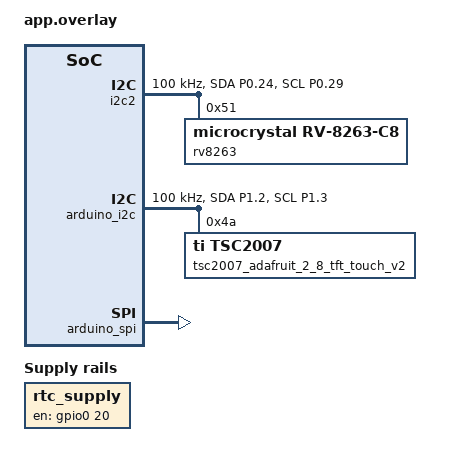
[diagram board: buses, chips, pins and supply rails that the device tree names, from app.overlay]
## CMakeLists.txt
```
# Copyright (c) 2019 STMicroelectronics
# SPDX-License-Identifier: Apache-2.0

cmake_minimum_required(VERSION 3.20.0)

# Default shields configuration if not provided by build system
if(NOT DEFINED SHIELD)
    set(SHIELD adafruit_2_8_tft_touch_v2 x_nucleo_iks01a3)
endif()

find_package(Zephyr REQUIRED HINTS $ENV{ZEPHYR_BASE})
project(connected_watch)

target_sources(app PRIVATE
    src/main.c
    src/input_tsc2007.c
    src/buttons.c
    src/rtc_time.c
    src/sensors.c
    src/controller.c
    src/display_thread.c
    src/ble_service.c
    src/storage.c
    src/ui/ui.c
)
```

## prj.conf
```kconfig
# --- Logging & Console ---
CONFIG_LOG=y
CONFIG_LOG_MODE_DEFERRED=y
CONFIG_CONSOLE=y
CONFIG_UART_CONSOLE=y
CONFIG_LOG_BACKEND_UART=y
CONFIG_CBPRINTF_FP_SUPPORT=y

# --- System & Stack ---
# Main thread only does init then sleeps — real work in dedicated threads.
CONFIG_MAIN_STACK_SIZE=4096
CONFIG_SYSTEM_WORKQUEUE_STACK_SIZE=2048
CONFIG_SHELL=y

# --- Multitasking (Event-Driven Architecture) ---
CONFIG_THREAD_NAME=y

# --- FPU (Cortex-M33 single-precision, disabled to avoid TF-M CP10/CP11 config issue) ---
# CONFIG_FPU=y
# CONFIG_FPU_SHARING=y

# --- Peripherals ---
CONFIG_GPIO=y
CONFIG_SPI=y
CONFIG_I2C=y
CONFIG_PINCTRL=y
CONFIG_REGULATOR=y
CONFIG_REGULATOR_FIXED=y

# --- nRF5340 Specific Fixes ---
# Disable TFM Secure UART to prevent conflict with I2C1 (both share ID 9)
CONFIG_TFM_SECURE_UART=n
CONFIG_TFM_LOG_LEVEL_SILENCE=y

# --- Bluetooth Low Energy ---
CONFIG_BT=y
CONFIG_BT_PERIPHERAL=y
CONFIG_BT_DEVICE_NAME="Connected Watch"
CONFIG_BT_DEVICE_APPEARANCE=833

# BLE Stack Configuration
CONFIG_BT_ATT_PREPARE_COUNT=5
CONFIG_BT_BUF_ACL_RX_SIZE=251
CONFIG_BT_BUF_ACL_TX_SIZE=251
CONFIG_BT_L2CAP_TX_MTU=247
CONFIG_BT_GATT_CLIENT=n

# Disable GATT Caching (requires AES-CMAC not enabled in TFM/PSA by default)
CONFIG_BT_GATT_CACHING=n

# --- RTC (Real Time Clock - RV-8263-C8) ---
CONFIG_RTC=y

# --- Sensors (X-NUCLEO-IKS01A3) ---
CONFIG_SENSOR=y
# Disable triggers to use polling mode
CONFIG_LIS2MDL_TRIGGER_NONE=y
CONFIG_LPS22HH_TRIGGER_NONE=y
CONFIG_LSM6DSO_TRIGGER_NONE=y

# --- Display & UI (LVGL) ---
CONFIG_DISPLAY=y
CONFIG_LVGL=y
CONFIG_LV_Z_AUTO_INIT=y
CONFIG_LV_Z_MEM_POOL_SIZE=32768
CONFIG_LV_Z_SHELL=y

# Display Driver Settings
# Use Zephyr INPUT with the local TSC2007 driver for the resistive shield.
CONFIG_INPUT=y
# Match ILI9341 hardware color depth (16-bit RGB565)
CONFIG_LV_COLOR_DEPTH_16=y
CONFIG_LV_Z_BITS_PER_PIXEL=16
CONFIG_LV_Z_VDB_SIZE=20

# LVGL Widgets & Fonts
CONFIG_LV_USE_LABEL=y
CONFIG_LV_USE_LINE=y
CONFIG_LV_USE_ARC=y
CONFIG_LV_USE_BAR=y
CONFIG_LV_USE_CALENDAR=y
CONFIG_LV_USE_CALENDAR_HEADER_ARROW=y
CONFIG_LV_FONT_MONTSERRAT_14=y
CONFIG_LV_FONT_MONTSERRAT_16=y
CONFIG_LV_FONT_MONTSERRAT_28=y
CONFIG_LV_USE_FONT_COMPRESSED=y

# --- Non-Volatile Storage (Settings Persistence) ---
CONFIG_NVS=y
CONFIG_FLASH=y
CONFIG_FLASH_MAP=y
CONFIG_FLASH_PAGE_LAYOUT=y
CONFIG_SETTINGS=y
CONFIG_SETTINGS_NVS=y

# --- Watchdog (disabled until feed logic is implemented in controller) ---
# CONFIG_WATCHDOG=y
# CONFIG_WDT_DISABLE_AT_BOOT=n
```

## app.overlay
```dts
/*
 * Copyright (c) 2024 STMicroelectronics
 * SPDX-License-Identifier: Apache-2.0
 */

/ {
    chosen {
        zephyr,display = &adafruit_2_8_tft_touch_v2_ili9340;
        zephyr,touch = &tsc2007_adafruit_2_8_tft_touch_v2;
    };

    /* Alimentation virtuelle pour la RTC (P0.20 - Colonne de Droite) */
    rtc_supply: rtc-power {
        compatible = "regulator-fixed";
        regulator-name = "rtc_vdd_gpio";
        enable-gpios = <&gpio0 20 GPIO_ACTIVE_HIGH>;
        regulator-boot-on;
        startup-delay-us = <1000>;
    };
};

&{/lvgl_pointer} {
    input = <&tsc2007_adafruit_2_8_tft_touch_v2>;
};

/* I2C Pin Configuration for nRF5340DK */
&pinctrl {
    /* Configuration Shield Nucleo (i2c1) - Inchangée */
    i2c1_default: i2c1_default {
        group1 {
            /* SDA=P1.02, SCL=P1.03 */
            psels = <NRF_PSEL(TWIM_SDA, 1, 2)>,
                    <NRF_PSEL(TWIM_SCL, 1, 3)>;
            bias-pull-up;
        };
    };

    i2c1_sleep: i2c1_sleep {
        group1 {
            psels = <NRF_PSEL(TWIM_SDA, 1, 2)>,
                    <NRF_PSEL(TWIM_SCL, 1, 3)>;
            low-power-enable;
        };
    };

    /* Nouveau bus I2C2 pour la RTC (SDA=P0.24, SCL=P0.29 - Colonne de Droite) */
    i2c2_default: i2c2_default {
        group1 {
            psels = <NRF_PSEL(TWIM_SDA, 0, 24)>,
                    <NRF_PSEL(TWIM_SCL, 0, 29)>;
            bias-pull-up;
        };
    };

    i2c2_sleep: i2c2_sleep {
        group1 {
            psels = <NRF_PSEL(TWIM_SDA, 0, 24)>,
                    <NRF_PSEL(TWIM_SCL, 0, 29)>;
            low-power-enable;
        };
    };
};

/* Bus I2C2 dédié pour la RTC */
&i2c2 {
    compatible = "nordic,nrf-twim";
    status = "okay";
    clock-frequency = <I2C_BITRATE_STANDARD>;
    pinctrl-0 = <&i2c2_default>;
    pinctrl-1 = <&i2c2_sleep>;
    pinctrl-names = "default", "sleep";

    /* RTC Module - Micro Crystal RV-8263-C8 (I2C Address: 0x51) */
    rv8263: rv-8263-c8@51 {
        compatible = "microcrystal,rv-8263-c8";
        reg = <0x51>;
        status = "okay";
        /* Note: vin-supply removed to avoid init priority conflict.
         * The regulator is already enabled at boot via regulator-boot-on. */
    };
};

/* Bus I2C1 pour les capteurs Shield (Inchangé) */
&arduino_i2c {
    status = "okay";
    clock-frequency = <I2C_BITRATE_STANDARD>;
    pinctrl-0 = <&i2c1_default>;
    pinctrl-1 = <&i2c1_sleep>;
    pinctrl-names = "default", "sleep";
};

/* Sensor Configuration (X-NUCLEO-IKS01A3) */

/* LPS22HH Pressure Sensor - Set ODR to 10 Hz */
&lps22hh_x_nucleo_iks01a3 {
    odr = <2>;
};

/* LSM6DSO Accel/Gyro - Set ODR to 26 Hz */
&lsm6dso_6b_x_nucleo_iks01a3 {
    accel-odr = <2>;
    gyro-odr = <2>;
    accel-range = <0>; /* +/- 2g */
    gyro-range = <0>;  /* +/- 250 dps */
};

/* SPI Interface Configuration */
&arduino_spi {
    status = "okay";
};

/* Display Configuration - MODE PAYSAGE UNIQUEMENT */
&adafruit_2_8_tft_touch_v2_ili9340 {
    /* rotation=90 : Paysage 320x240 au boot (jamais 0=Portrait) */
    rotation = <90>;
};

&arduino_i2c {
    tsc2007_adafruit_2_8_tft_touch_v2: tsc2007@4a {
        compatible = "ti,tsc2007";
        reg = <0x4a>;
        screen-width = <240>;
        screen-height = <320>;
        raw-x-min = <150>;
        raw-y-min = <130>;
        raw-x-max = <3800>;
        raw-y-max = <4000>;
        pressure-min = <200>;
        poll-interval-ms = <20>;
        status = "okay";
    };
};

&ft5336_adafruit_2_8_tft_touch_v2 {
    status = "disabled";
};
```

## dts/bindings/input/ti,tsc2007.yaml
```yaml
# SPDX-License-Identifier: Apache-2.0

description: Texas Instruments TSC2007 resistive touchscreen controller

compatible: "ti,tsc2007"

include: [i2c-device.yaml, touchscreen-common.yaml]

properties:
  raw-x-min:
    type: int
    required: true
    description: Minimum raw X value used for coordinate scaling.

  raw-y-min:
    type: int
    required: true
    description: Minimum raw Y value used for coordinate scaling.

  raw-x-max:
    type: int
    required: true
    description: Maximum raw X value used for coordinate scaling.

  raw-y-max:
    type: int
    required: true
    description: Maximum raw Y value used for coordinate scaling.

  pressure-min:
    type: int
    default: 200
    description: Minimum Z1 pressure value considered as a valid touch.

  poll-interval-ms:
    type: int
    default: 20
    description: Poll interval used when the controller is read in polling mode.
```

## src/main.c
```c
/* Connected Watch — Main Init — SPDX-License-Identifier: Apache-2.0 */

#include <zephyr/kernel.h>
#include <zephyr/device.h>
#include <zephyr/drivers/display.h>
#include <zephyr/input/input.h>
#include <zephyr/logging/log.h>

#include "app_events.h"
#include "buttons.h"
#include "rtc_time.h"
#include "sensors.h"
#include "controller.h"
#include "ui/ui.h"
#include "ble_service.h"
#include "storage.h"

LOG_MODULE_REGISTER(app, CONFIG_LOG_DEFAULT_LEVEL);

/* Kernel objects — owned by main, extern'd in app_events.h */
K_MSGQ_DEFINE(event_bus, sizeof(struct event_msg), 16, 4);
K_MSGQ_DEFINE(raw_input_q, sizeof(enum raw_input), 16, 4);
K_SEM_DEFINE(sem_sensor_start, 0, 1);
K_SEM_DEFINE(sem_display_ready, 0, 1);
K_SEM_DEFINE(sem_display_wake, 0, 1);
K_MUTEX_DEFINE(mtx_sensors);

struct sensor_snapshot shared_sensors;

static void on_ble_time_update(uint32_t timestamp)
{
    event_post_val(EVT_BLE_TIME_SYNC, timestamp);
}

#if DT_NODE_EXISTS(DT_CHOSEN(zephyr_touch))
static const struct device *const touch_dev = DEVICE_DT_GET(DT_CHOSEN(zephyr_touch));

static struct {
    int32_t x;
    int32_t y;
    bool pressed;
} touch_diag_state = {
    .x = -1,
    .y = -1,
    .pressed = false,
};

static void touch_diag_callback(struct input_event *evt, void *user_data)
{
    ARG_UNUSED(user_data);

    switch (evt->code) {
    case INPUT_ABS_X:
        touch_diag_state.x = evt->value;
        break;
    case INPUT_ABS_Y:
        touch_diag_state.y = evt->value;
        break;
    case INPUT_BTN_TOUCH:
        touch_diag_state.pressed = (evt->value != 0);
        break;
    default:
        break;
    }

    if (evt->sync) {
        LOG_INF("TOUCH %s x=%ld y=%ld",
                touch_diag_state.pressed ? "PRESS" : "RELEASE",
                (long)touch_diag_state.x,
                (long)touch_diag_state.y);
    }
}
INPUT_CALLBACK_DEFINE(touch_dev, touch_diag_callback, NULL);
#endif

int main(void)
{
    LOG_INF("========================================");
    LOG_INF("Connected Watch — Event-Driven Architecture");
    LOG_INF("========================================");

    /* Allow display hardware and regulators to stabilize after boot */
    k_msleep(100);

    const struct device *display_dev = DEVICE_DT_GET(DT_CHOSEN(zephyr_display));
    if (!device_is_ready(display_dev)) {
        LOG_ERR("Display not ready");
        return -1;
    }
    display_blanking_off(display_dev);

    ui_init();
    LOG_INF("UI initialized");

    if (init_buttons() != 0) {
        LOG_ERR("Button init failed — continuing without buttons");
    }

    storage_init();
    ui_set_theme_index(storage_load_theme());

    rtc_time_init();
    sensors_init();
    controller_set_display(display_dev);

    int err = ble_init(on_ble_time_update);
    if (err) {
        LOG_ERR("BLE init failed: %d", err);
    } else {
        LOG_INF("BLE initialized");
    }

    k_sem_give(&sem_display_ready);

    LOG_INF("System operational");
    k_sleep(K_FOREVER);
    return 0;
}
```

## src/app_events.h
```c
/*
 * Shared event types and kernel objects.
 * SPDX-License-Identifier: Apache-2.0
 */

#ifndef APP_EVENTS_H
#define APP_EVENTS_H

#include <zephyr/kernel.h>
#include <zephyr/sys/util.h>
#include <zephyr/sys/atomic.h>
#include <stdbool.h>

/* Event types posted on the main queue. */
enum event_type {
    EVT_NONE = 0,

    /* Button events */
    EVT_BTN_SWITCH_SCREEN,    /* SW0 : basculer écran Capteurs ↔ Horloge    */
    EVT_BTN_CYCLE_THEME,      /* SW1 : cycler la couleur d'accent            */
    EVT_BTN_BRIGHTNESS,       /* SW2 : basculer overlay luminosité           */
    EVT_BTN_STATUS_POPUP,     /* SW3 : afficher / masquer popup status       */

    /* Timer events */
    EVT_TICK_SENSORS,         /* 250 ms : déclencher lecture capteurs I2C    */
    EVT_TICK_TIME,            /* 1 s : vérifier timeout inactivité           */

    /* BLE events */
    EVT_BLE_TIME_SYNC,        /* Timestamp Unix reçu du smartphone           */

    /* Internal events */
    EVT_SENSOR_DATA_READY,    /* Lecture capteurs terminée                    */
};

/* Message format stored in the event queue. */
struct event_msg {
    enum event_type type;
    union {
        uint32_t timestamp;   /* Payload pour EVT_BLE_TIME_SYNC              */
        uint8_t  value;       /* Payload générique                           */
    } data;
};

/* Sensor values shared between the controller and the display thread. */
#define SNAP_VALID_ENV    BIT(0)
#define SNAP_VALID_PRESS  BIT(1)
#define SNAP_VALID_MOTION BIT(2)
#define SNAP_VALID_MAG    BIT(3)

struct sensor_snapshot {
    float   temperature;      /* °C  (HTS221)                                */
    float   humidity;         /* %   (HTS221)                                */
    float   pressure;         /* kPa (LPS22HH)                               */
    float   accel[3];         /* m/s² x,y,z (LSM6DSO)                        */
    float   gyro[3];          /* dps  x,y,z (LSM6DSO)                        */
    float   magn[3];          /* gauss x,y,z (LIS2MDL)                       */
    uint8_t valid_flags;      /* bitmask: SNAP_VALID_*                        */
};

/* Raw inputs posted by interrupts and timers. */
enum raw_input {
    RAW_BTN0,
    RAW_BTN1,
    RAW_BTN2,
    RAW_BTN3,
    RAW_TIMER_SENSORS,
    RAW_TIMER_TIME,
};

/* Atomic UI actions posted by the controller. */
#define UI_ACT_SWITCH_SCREEN   BIT(0)
#define UI_ACT_CYCLE_THEME     BIT(1)
#define UI_ACT_BRIGHTNESS      BIT(2)
#define UI_ACT_STATUS_POPUP    BIT(3)
#define UI_ACT_ROTATION_CHANGE BIT(4)
#define UI_ACT_ENTER_SLEEP     BIT(5)
#define UI_ACT_EXIT_SLEEP      BIT(6)

/* Controller state machine. */
enum app_state {
    STATE_INIT,    /* Démarrage système, attente premier événement       */
    STATE_IDLE,    /* Fonctionnement normal, attente d'événements        */
    STATE_ACTIVE,  /* Traitement en cours (lecture capteurs, sync BLE)   */
    STATE_SLEEP,   /* Écran éteint, capteurs en pause, veille            */
};

/* Shared kernel objects. */
extern struct k_msgq event_bus;        /* Bus principal d'événements     */
extern struct k_msgq raw_input_q;      /* File ISR/Timer → INPUT_MGR     */
extern struct k_sem  sem_sensor_start; /* CONTROLLER → SENSORS           */
extern struct k_sem  sem_display_ready;/* main() → DISPLAY               */
extern struct k_sem  sem_display_wake; /* CONTROLLER → DISPLAY wake      */
extern struct k_mutex mtx_sensors;     /* Protection shared_sensors      */

extern struct sensor_snapshot shared_sensors;

extern atomic_t ui_action_flags;
extern atomic_t sensor_display_dirty;
extern atomic_t display_sleeping;
extern atomic_t shared_step_count;
extern atomic_t shared_heading_centideg;
extern atomic_t touch_activity_flag;

/* Small queue helpers. */

/** Poster un événement simple (sans données) sur l'event bus.
 *  Returns -EBUSY if queue full. Caller in thread context should log on failure.
 */
static inline int event_post(enum event_type type)
{
    struct event_msg msg = { .type = type };
    return k_msgq_put(&event_bus, &msg, K_NO_WAIT);
}

/** Poster un événement avec payload uint32 sur l'event bus.
 *  Returns -EBUSY if queue full. Caller in thread context should log on failure.
 */
static inline int event_post_val(enum event_type type, uint32_t val)
{
    struct event_msg msg = { .type = type, .data = { .timestamp = val } };
    return k_msgq_put(&event_bus, &msg, K_NO_WAIT);
}

/** Poster un input brut (ISR-safe, K_NO_WAIT).
 *  Perte possible si file pleine (pas de log depuis ISR).
 */
static inline int raw_input_post(enum raw_input input)
{
    return k_msgq_put(&raw_input_q, &input, K_NO_WAIT);
}

#endif /* APP_EVENTS_H */
```

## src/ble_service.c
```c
/*
 * BLE Service Implementation
 * Custom GATT service for sensor data notifications and time sync
 * SPDX-License-Identifier: Apache-2.0
 */

#include "ble_service.h"

#include <zephyr/kernel.h>
#include <zephyr/bluetooth/bluetooth.h>
#include <zephyr/bluetooth/hci.h>
#include <zephyr/bluetooth/conn.h>
#include <zephyr/bluetooth/uuid.h>
#include <zephyr/bluetooth/gatt.h>
#include <zephyr/logging/log.h>

LOG_MODULE_REGISTER(ble_service, CONFIG_LOG_DEFAULT_LEVEL);

/* Custom Service UUID: 12345678-1234-5678-1234-56789abcdef0 */
#define BT_UUID_SENSOR_SERVICE_VAL \
    BT_UUID_128_ENCODE(0x12345678, 0x1234, 0x5678, 0x1234, 0x56789abcdef0)

/* Characteristic UUIDs */
#define BT_UUID_WATCH_ENV_VAL \
    BT_UUID_128_ENCODE(0x12345678, 0x1234, 0x5678, 0x1234, 0x56789abcdef1)
#define BT_UUID_WATCH_PRESS_VAL \
    BT_UUID_128_ENCODE(0x12345678, 0x1234, 0x5678, 0x1234, 0x56789abcdef2)
#define BT_UUID_WATCH_MOTION_VAL \
    BT_UUID_128_ENCODE(0x12345678, 0x1234, 0x5678, 0x1234, 0x56789abcdef3)
#define BT_UUID_WATCH_TIME_VAL \
    BT_UUID_128_ENCODE(0x12345678, 0x1234, 0x5678, 0x1234, 0x56789abcdef4)
#define BT_UUID_WATCH_MAG_VAL \
    BT_UUID_128_ENCODE(0x12345678, 0x1234, 0x5678, 0x1234, 0x56789abcdef5)
#define BT_UUID_WATCH_STEPS_VAL \
    BT_UUID_128_ENCODE(0x12345678, 0x1234, 0x5678, 0x1234, 0x56789abcdef6)
#define BT_UUID_WATCH_COMPASS_VAL \
    BT_UUID_128_ENCODE(0x12345678, 0x1234, 0x5678, 0x1234, 0x56789abcdef7)

static struct bt_uuid_128 sensor_service_uuid = BT_UUID_INIT_128(BT_UUID_SENSOR_SERVICE_VAL);
static struct bt_uuid_128 env_data_uuid = BT_UUID_INIT_128(BT_UUID_WATCH_ENV_VAL);
static struct bt_uuid_128 pressure_uuid = BT_UUID_INIT_128(BT_UUID_WATCH_PRESS_VAL);
static struct bt_uuid_128 motion_uuid = BT_UUID_INIT_128(BT_UUID_WATCH_MOTION_VAL);
static struct bt_uuid_128 time_uuid = BT_UUID_INIT_128(BT_UUID_WATCH_TIME_VAL);
static struct bt_uuid_128 mag_uuid = BT_UUID_INIT_128(BT_UUID_WATCH_MAG_VAL);
static struct bt_uuid_128 steps_uuid = BT_UUID_INIT_128(BT_UUID_WATCH_STEPS_VAL);
static struct bt_uuid_128 compass_uuid = BT_UUID_INIT_128(BT_UUID_WATCH_COMPASS_VAL);

/* Connection state — written by BLE RX thread, read by controller_tid.
 * volatile ensures the compiler always re-reads from memory.
 * On ARM Cortex-M33, aligned pointer and bool loads/stores are atomic.
 */
static volatile struct bt_conn *current_conn;
static volatile bool notify_env_enabled;
static volatile bool notify_press_enabled;
static volatile bool notify_motion_enabled;
static volatile bool notify_mag_enabled;
static volatile bool notify_steps_enabled;
static volatile bool notify_compass_enabled;
static ble_time_update_cb_t time_update_callback = NULL;

/* Sensor data buffers */
static uint8_t env_data[4];      /* temp(2) + hum(2) */
static uint8_t press_data[4];    /* pressure(4) */
static uint8_t motion_data[12];  /* ax,ay,az,gx,gy,gz (2 bytes each) */
static uint8_t mag_data[6];      /* mx, my, mz (2 bytes each) */
static uint8_t steps_data[4];    /* step_count (4 bytes) */
static uint8_t compass_data[2];  /* heading centideg (2 bytes) */

/* CCC changed callbacks */
static void env_ccc_cfg_changed(const struct bt_gatt_attr *attr, uint16_t value)
{
    notify_env_enabled = (value == BT_GATT_CCC_NOTIFY);
    LOG_INF("Env notifications %s", notify_env_enabled ? "enabled" : "disabled");
}

static void press_ccc_cfg_changed(const struct bt_gatt_attr *attr, uint16_t value)
{
    notify_press_enabled = (value == BT_GATT_CCC_NOTIFY);
    LOG_INF("Pressure notifications %s", notify_press_enabled ? "enabled" : "disabled");
}

static void motion_ccc_cfg_changed(const struct bt_gatt_attr *attr, uint16_t value)
{
    notify_motion_enabled = (value == BT_GATT_CCC_NOTIFY);
    LOG_INF("Motion notifications %s", notify_motion_enabled ? "enabled" : "disabled");
}

static void mag_ccc_cfg_changed(const struct bt_gatt_attr *attr, uint16_t value)
{
    notify_mag_enabled = (value == BT_GATT_CCC_NOTIFY);
    LOG_INF("Mag notifications %s", notify_mag_enabled ? "enabled" : "disabled");
}

static void steps_ccc_cfg_changed(const struct bt_gatt_attr *attr, uint16_t value)
{
    notify_steps_enabled = (value == BT_GATT_CCC_NOTIFY);
    LOG_INF("Steps notifications %s", notify_steps_enabled ? "enabled" : "disabled");
}

static void compass_ccc_cfg_changed(const struct bt_gatt_attr *attr, uint16_t value)
{
    notify_compass_enabled = (value == BT_GATT_CCC_NOTIFY);
    LOG_INF("Compass notifications %s", notify_compass_enabled ? "enabled" : "disabled");
}

/* Read callbacks */
static ssize_t read_env(struct bt_conn *conn, const struct bt_gatt_attr *attr,
                        void *buf, uint16_t len, uint16_t offset)
{
    return bt_gatt_attr_read(conn, attr, buf, len, offset, env_data, sizeof(env_data));
}

static ssize_t read_press(struct bt_conn *conn, const struct bt_gatt_attr *attr,
                          void *buf, uint16_t len, uint16_t offset)
{
    return bt_gatt_attr_read(conn, attr, buf, len, offset, press_data, sizeof(press_data));
}

static ssize_t read_motion(struct bt_conn *conn, const struct bt_gatt_attr *attr,
                           void *buf, uint16_t len, uint16_t offset)
{
    return bt_gatt_attr_read(conn, attr, buf, len, offset, motion_data, sizeof(motion_data));
}

static ssize_t read_mag(struct bt_conn *conn, const struct bt_gatt_attr *attr,
                        void *buf, uint16_t len, uint16_t offset)
{
    return bt_gatt_attr_read(conn, attr, buf, len, offset, mag_data, sizeof(mag_data));
}

static ssize_t read_steps(struct bt_conn *conn, const struct bt_gatt_attr *attr,
                          void *buf, uint16_t len, uint16_t offset)
{
    return bt_gatt_attr_read(conn, attr, buf, len, offset, steps_data, sizeof(steps_data));
}

static ssize_t read_compass(struct bt_conn *conn, const struct bt_gatt_attr *attr,
                            void *buf, uint16_t len, uint16_t offset)
{
    return bt_gatt_attr_read(conn, attr, buf, len, offset, compass_data, sizeof(compass_data));
}

/* Time Write Callback */
static ssize_t write_time(struct bt_conn *conn, const struct bt_gatt_attr *attr,
                          const void *buf, uint16_t len, uint16_t offset, uint8_t flags)
{
    if (offset != 0) {
        return BT_GATT_ERR(BT_ATT_ERR_INVALID_OFFSET);
    }

    if (len != 4) {
        LOG_WRN("Invalid time length: %d", len);
        return BT_GATT_ERR(BT_ATT_ERR_INVALID_ATTRIBUTE_LEN);
    }

    /* Decode 32-bit timestamp (Little Endian) */
    const uint8_t *b = buf;
    uint32_t timestamp = b[0] | (b[1] << 8) | (b[2] << 16) | (b[3] << 24);

    LOG_INF("Time received via BLE: %u", timestamp);

    if (time_update_callback) {
        time_update_callback(timestamp);
    }

    return len;
}

/* GATT Service Definition */
BT_GATT_SERVICE_DEFINE(sensor_svc,
    BT_GATT_PRIMARY_SERVICE(&sensor_service_uuid),

    /* Environmental Data (Temp + Humidity) — Read + Notify */
    BT_GATT_CHARACTERISTIC(&env_data_uuid.uuid,
                           BT_GATT_CHRC_READ | BT_GATT_CHRC_NOTIFY,
                           BT_GATT_PERM_READ,
                           read_env, NULL, NULL),
    BT_GATT_CCC(env_ccc_cfg_changed, BT_GATT_PERM_READ | BT_GATT_PERM_WRITE),

    /* Pressure — Read + Notify */
    BT_GATT_CHARACTERISTIC(&pressure_uuid.uuid,
                           BT_GATT_CHRC_READ | BT_GATT_CHRC_NOTIFY,
                           BT_GATT_PERM_READ,
                           read_press, NULL, NULL),
    BT_GATT_CCC(press_ccc_cfg_changed, BT_GATT_PERM_READ | BT_GATT_PERM_WRITE),

    /* Motion Data (Accel + Gyro) — Read + Notify */
    BT_GATT_CHARACTERISTIC(&motion_uuid.uuid,
                           BT_GATT_CHRC_READ | BT_GATT_CHRC_NOTIFY,
                           BT_GATT_PERM_READ,
                           read_motion, NULL, NULL),
    BT_GATT_CCC(motion_ccc_cfg_changed, BT_GATT_PERM_READ | BT_GATT_PERM_WRITE),

    /* Magnetometer — Read + Notify */
    BT_GATT_CHARACTERISTIC(&mag_uuid.uuid,
                           BT_GATT_CHRC_READ | BT_GATT_CHRC_NOTIFY,
                           BT_GATT_PERM_READ,
                           read_mag, NULL, NULL),
    BT_GATT_CCC(mag_ccc_cfg_changed, BT_GATT_PERM_READ | BT_GATT_PERM_WRITE),

    /* Pedometer (Step Count) — Read + Notify */
    BT_GATT_CHARACTERISTIC(&steps_uuid.uuid,
                           BT_GATT_CHRC_READ | BT_GATT_CHRC_NOTIFY,
                           BT_GATT_PERM_READ,
                           read_steps, NULL, NULL),
    BT_GATT_CCC(steps_ccc_cfg_changed, BT_GATT_PERM_READ | BT_GATT_PERM_WRITE),

    /* Compass Heading — Read + Notify */
    BT_GATT_CHARACTERISTIC(&compass_uuid.uuid,
                           BT_GATT_CHRC_READ | BT_GATT_CHRC_NOTIFY,
                           BT_GATT_PERM_READ,
                           read_compass, NULL, NULL),
    BT_GATT_CCC(compass_ccc_cfg_changed, BT_GATT_PERM_READ | BT_GATT_PERM_WRITE),

    /* Time (Write Only) */
    BT_GATT_CHARACTERISTIC(&time_uuid.uuid,
                           BT_GATT_CHRC_WRITE,
                           BT_GATT_PERM_WRITE,
                           NULL, write_time, NULL),
);

/* GATT layout: [0]=svc,
 * [1]=env_char, [2]=env_val, [3]=env_ccc,
 * [4]=press_char, [5]=press_val, [6]=press_ccc,
 * [7]=motion_char, [8]=motion_val, [9]=motion_ccc,
 * [10]=mag_char, [11]=mag_val, [12]=mag_ccc,
 * [13]=steps_char, [14]=steps_val, [15]=steps_ccc,
 * [16]=compass_char, [17]=compass_val, [18]=compass_ccc,
 * [19]=time_char, [20]=time_val
 */
#define ATTR_ENV_VAL     2
#define ATTR_PRESS_VAL   5
#define ATTR_MOTION_VAL  8
#define ATTR_MAG_VAL     11
#define ATTR_STEPS_VAL   14
#define ATTR_COMPASS_VAL 17

/* Advertising data */
static const struct bt_data ad[] = {
    BT_DATA_BYTES(BT_DATA_FLAGS, (BT_LE_AD_GENERAL | BT_LE_AD_NO_BREDR)),
    BT_DATA_BYTES(BT_DATA_UUID128_ALL, BT_UUID_SENSOR_SERVICE_VAL),
};

static const struct bt_data sd[] = {
    BT_DATA(BT_DATA_NAME_COMPLETE, CONFIG_BT_DEVICE_NAME, sizeof(CONFIG_BT_DEVICE_NAME) - 1),
};

/* Connection callbacks */
static void mtu_exchange_cb(struct bt_conn *conn, uint8_t att_err,
                            struct bt_gatt_exchange_params *params)
{
    if (att_err) {
        LOG_WRN("MTU exchange failed (err %u)", att_err);
    } else {
        LOG_INF("MTU exchange OK — MTU=%u", bt_gatt_get_mtu(conn));
    }
}

static struct bt_gatt_exchange_params mtu_params = {
    .func = mtu_exchange_cb,
};

static void connected(struct bt_conn *conn, uint8_t err)
{
    if (err) {
        LOG_ERR("Connection failed (err %u)", err);
        return;
    }

    current_conn = bt_conn_ref(conn);
    LOG_INF("BLE Connected");

    int mtu_err = bt_gatt_exchange_mtu(conn, &mtu_params);
    if (mtu_err) {
        LOG_WRN("MTU exchange request failed: %d", mtu_err);
    }
}

static void disconnected(struct bt_conn *conn, uint8_t reason)
{
    LOG_INF("BLE Disconnected (reason %u)", reason);

    if (current_conn) {
        bt_conn_unref((struct bt_conn *)current_conn);
        current_conn = NULL;
    }

    notify_env_enabled = false;
    notify_press_enabled = false;
    notify_motion_enabled = false;
    notify_mag_enabled = false;
    notify_steps_enabled = false;
    notify_compass_enabled = false;

    int adv_err = bt_le_adv_start(BT_LE_ADV_CONN_FAST_1, ad, ARRAY_SIZE(ad),
                                  sd, ARRAY_SIZE(sd));
    if (adv_err) {
        LOG_ERR("Re-advertising failed (err %d)", adv_err);
    } else {
        LOG_INF("Re-advertising started");
    }
}

BT_CONN_CB_DEFINE(conn_callbacks) = {
    .connected = connected,
    .disconnected = disconnected,
};

int ble_init(ble_time_update_cb_t time_cb)
{
    int err;

    LOG_INF("Initializing BLE...");

    time_update_callback = time_cb;

    err = bt_enable(NULL);
    if (err) {
        LOG_ERR("Bluetooth init failed (err %d)", err);
        return err;
    }

    LOG_INF("Bluetooth initialized");

    /* Start connectable advertising using the standard macro */
    err = bt_le_adv_start(BT_LE_ADV_CONN_FAST_1, ad, ARRAY_SIZE(ad), sd, ARRAY_SIZE(sd));
    if (err) {
        LOG_ERR("Advertising failed to start (err %d)", err);
        return err;
    }

    LOG_INF("Advertising started as '%s'", CONFIG_BT_DEVICE_NAME);
    return 0;
}

void ble_update_env_data(int16_t temp, uint16_t hum)
{
    env_data[0] = temp & 0xFF;
    env_data[1] = (temp >> 8) & 0xFF;
    env_data[2] = hum & 0xFF;
    env_data[3] = (hum >> 8) & 0xFF;

    struct bt_conn *conn = (struct bt_conn *)current_conn;
    if (!conn || !notify_env_enabled) {
        return;
    }

    int err = bt_gatt_notify(conn, &sensor_svc.attrs[ATTR_ENV_VAL], env_data, sizeof(env_data));
    if (err && err != -ENOTCONN) {
        LOG_WRN("Env notify failed: %d", err);
    }
}

void ble_update_pressure(uint32_t press)
{
    press_data[0] = press & 0xFF;
    press_data[1] = (press >> 8) & 0xFF;
    press_data[2] = (press >> 16) & 0xFF;
    press_data[3] = (press >> 24) & 0xFF;

    struct bt_conn *conn = (struct bt_conn *)current_conn;
    if (!conn || !notify_press_enabled) {
        return;
    }

    int err = bt_gatt_notify(conn, &sensor_svc.attrs[ATTR_PRESS_VAL], press_data, sizeof(press_data));
    if (err && err != -ENOTCONN) {
        LOG_WRN("Pressure notify failed: %d", err);
    }
}

void ble_update_motion_data(int16_t ax, int16_t ay, int16_t az,
                            int16_t gx, int16_t gy, int16_t gz)
{
    motion_data[0] = ax & 0xFF;
    motion_data[1] = (ax >> 8) & 0xFF;
    motion_data[2] = ay & 0xFF;
    motion_data[3] = (ay >> 8) & 0xFF;
    motion_data[4] = az & 0xFF;
    motion_data[5] = (az >> 8) & 0xFF;
    motion_data[6] = gx & 0xFF;
    motion_data[7] = (gx >> 8) & 0xFF;
    motion_data[8] = gy & 0xFF;
    motion_data[9] = (gy >> 8) & 0xFF;
    motion_data[10] = gz & 0xFF;
    motion_data[11] = (gz >> 8) & 0xFF;

    struct bt_conn *conn = (struct bt_conn *)current_conn;
    if (!conn || !notify_motion_enabled) {
        return;
    }

    int err = bt_gatt_notify(conn, &sensor_svc.attrs[ATTR_MOTION_VAL], motion_data, sizeof(motion_data));
    if (err && err != -ENOTCONN) {
        LOG_WRN("Motion notify failed: %d", err);
    }
}

void ble_update_magnetometer(int16_t mx, int16_t my, int16_t mz)
{
    mag_data[0] = mx & 0xFF;
    mag_data[1] = (mx >> 8) & 0xFF;
    mag_data[2] = my & 0xFF;
    mag_data[3] = (my >> 8) & 0xFF;
    mag_data[4] = mz & 0xFF;
    mag_data[5] = (mz >> 8) & 0xFF;

    struct bt_conn *conn = (struct bt_conn *)current_conn;
    if (!conn || !notify_mag_enabled) return;
    int err = bt_gatt_notify(conn, &sensor_svc.attrs[ATTR_MAG_VAL], mag_data, sizeof(mag_data));
    if (err && err != -ENOTCONN) {
        LOG_WRN("Mag notify failed: %d", err);
    }
}

void ble_update_compass(int16_t heading_centideg)
{
    compass_data[0] = heading_centideg & 0xFF;
    compass_data[1] = (heading_centideg >> 8) & 0xFF;

    struct bt_conn *conn = (struct bt_conn *)current_conn;
    if (!conn || !notify_compass_enabled) return;
    int err = bt_gatt_notify(conn, &sensor_svc.attrs[ATTR_COMPASS_VAL], compass_data, sizeof(compass_data));
    if (err && err != -ENOTCONN) {
        LOG_WRN("Compass notify failed: %d", err);
    }
}

void ble_update_steps(uint32_t step_count)
{
    steps_data[0] = step_count & 0xFF;
    steps_data[1] = (step_count >> 8) & 0xFF;
    steps_data[2] = (step_count >> 16) & 0xFF;
    steps_data[3] = (step_count >> 24) & 0xFF;

    struct bt_conn *conn = (struct bt_conn *)current_conn;
    if (!conn || !notify_steps_enabled) return;
    int err = bt_gatt_notify(conn, &sensor_svc.attrs[ATTR_STEPS_VAL], steps_data, sizeof(steps_data));
    if (err && err != -ENOTCONN) {
        LOG_WRN("Steps notify failed: %d", err);
    }
}

bool ble_is_connected(void)
{
    return (current_conn != NULL);
}

uint16_t ble_get_mtu(void)
{
    struct bt_conn *conn = (struct bt_conn *)current_conn;
    if (!conn) {
        return 0;
    }
    return bt_gatt_get_mtu(conn);
}
```

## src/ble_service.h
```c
/*
 * BLE Service Header
 * Custom GATT service for sensor data notifications and time sync
 * SPDX-License-Identifier: Apache-2.0
 */

#ifndef BLE_SERVICE_H
#define BLE_SERVICE_H

#include <stdint.h>
#include <stdbool.h>

/**
 * @brief Callback type for time updates
 * @param timestamp Unix timestamp received from client
 */
typedef void (*ble_time_update_cb_t)(uint32_t timestamp);

/**
 * @brief Initialize BLE stack and start advertising
 * @param time_cb Callback function to handle time write events (optional, can be NULL)
 * @return 0 on success, negative error code on failure
 */
int ble_init(ble_time_update_cb_t time_cb);

/**
 * @brief Update temperature and humidity via BLE notification
 * @param temp Temperature (Celsius * 100, integer)
 * @param hum Humidity (% * 100, integer)
 */
void ble_update_env_data(int16_t temp, uint16_t hum);

/**
 * @brief Update pressure via BLE notification
 * @param press Pressure (Pa, integer)
 */
void ble_update_pressure(uint32_t press);

/**
 * @brief Update motion data (accel/gyro) via BLE notification
 * @param ax Acceleration X (m/s^2 * 100)
 * @param ay Acceleration Y (m/s^2 * 100)
 * @param az Acceleration Z (m/s^2 * 100)
 * @param gx Gyro X (dps * 100)
 * @param gy Gyro Y (dps * 100)
 * @param gz Gyro Z (dps * 100)
 */
void ble_update_motion_data(int16_t ax, int16_t ay, int16_t az,
                            int16_t gx, int16_t gy, int16_t gz);

/**
 * @brief Update magnetometer data via BLE notification
 * @param mx Magnetometer X (milligauss)
 * @param my Magnetometer Y (milligauss)
 * @param mz Magnetometer Z (milligauss)
 */
void ble_update_magnetometer(int16_t mx, int16_t my, int16_t mz);

/**
 * @brief Update compass heading via BLE notification
 * @param heading_centideg Heading in centidegrees (0..35999)
 */
void ble_update_compass(int16_t heading_centideg);

/**
 * @brief Update step count via BLE notification
 * @param step_count Total steps
 */
void ble_update_steps(uint32_t step_count);

/**
 * @brief Check if a BLE client is connected
 * @return true if connected, false otherwise
 */
bool ble_is_connected(void);

/**
 * @brief Get current ATT MTU (0 if not connected)
 */
uint16_t ble_get_mtu(void);

#endif /* BLE_SERVICE_H */
```

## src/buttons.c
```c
/* Button GPIO Driver — SPDX-License-Identifier: Apache-2.0 */

#include <zephyr/kernel.h>
#include <zephyr/device.h>
#include <zephyr/drivers/gpio.h>
#include <zephyr/logging/log.h>

#include "app_events.h"
#include "buttons.h"

LOG_MODULE_REGISTER(buttons, CONFIG_LOG_DEFAULT_LEVEL);

#define SW0_NODE DT_ALIAS(sw0)
#define SW1_NODE DT_ALIAS(sw1)
#define SW2_NODE DT_ALIAS(sw2)
#define SW3_NODE DT_ALIAS(sw3)

#if DT_NODE_HAS_STATUS(SW0_NODE, okay)
static const struct gpio_dt_spec button0 = GPIO_DT_SPEC_GET(SW0_NODE, gpios);
#endif
#if DT_NODE_HAS_STATUS(SW1_NODE, okay)
static const struct gpio_dt_spec button1 = GPIO_DT_SPEC_GET(SW1_NODE, gpios);
#endif
#if DT_NODE_HAS_STATUS(SW2_NODE, okay)
static const struct gpio_dt_spec button2 = GPIO_DT_SPEC_GET(SW2_NODE, gpios);
#endif
#if DT_NODE_HAS_STATUS(SW3_NODE, okay)
static const struct gpio_dt_spec button3 = GPIO_DT_SPEC_GET(SW3_NODE, gpios);
#endif

static struct gpio_callback button_cb_data[4];

#if DT_NODE_HAS_STATUS(SW0_NODE, okay)
static void button0_isr(const struct device *d, struct gpio_callback *cb,
                         uint32_t pins)
{
    ARG_UNUSED(d); ARG_UNUSED(cb); ARG_UNUSED(pins);
    raw_input_post(RAW_BTN0);
}
#endif

#if DT_NODE_HAS_STATUS(SW1_NODE, okay)
static void button1_isr(const struct device *d, struct gpio_callback *cb,
                         uint32_t pins)
{
    ARG_UNUSED(d); ARG_UNUSED(cb); ARG_UNUSED(pins);
    raw_input_post(RAW_BTN1);
}
#endif

#if DT_NODE_HAS_STATUS(SW2_NODE, okay)
static void button2_isr(const struct device *d, struct gpio_callback *cb,
                         uint32_t pins)
{
    ARG_UNUSED(d); ARG_UNUSED(cb); ARG_UNUSED(pins);
    raw_input_post(RAW_BTN2);
}
#endif

#if DT_NODE_HAS_STATUS(SW3_NODE, okay)
static void button3_isr(const struct device *d, struct gpio_callback *cb,
                         uint32_t pins)
{
    ARG_UNUSED(d); ARG_UNUSED(cb); ARG_UNUSED(pins);
    raw_input_post(RAW_BTN3);
}
#endif

int init_buttons(void)
{
    int ret = 0;

#if DT_NODE_HAS_STATUS(SW0_NODE, okay)
    if (gpio_is_ready_dt(&button0)) {
        ret = gpio_pin_configure_dt(&button0, GPIO_INPUT);
        if (ret == 0) ret = gpio_pin_interrupt_configure_dt(
                                &button0, GPIO_INT_EDGE_TO_ACTIVE);
        if (ret == 0) {
            gpio_init_callback(&button_cb_data[0], button0_isr,
                               BIT(button0.pin));
            ret = gpio_add_callback(button0.port, &button_cb_data[0]);
        }
        if (ret != 0) {
            LOG_ERR("SW0 init failed: %d", ret);
            return -1;
        }
        LOG_INF("SW0 configured (Switch Screen)");
    }
#endif
#if DT_NODE_HAS_STATUS(SW1_NODE, okay)
    if (gpio_is_ready_dt(&button1)) {
        ret = gpio_pin_configure_dt(&button1, GPIO_INPUT);
        if (ret == 0) ret = gpio_pin_interrupt_configure_dt(
                                &button1, GPIO_INT_EDGE_TO_ACTIVE);
        if (ret == 0) {
            gpio_init_callback(&button_cb_data[1], button1_isr,
                               BIT(button1.pin));
            ret = gpio_add_callback(button1.port, &button_cb_data[1]);
        }
        if (ret != 0) {
            LOG_ERR("SW1 init failed: %d", ret);
            return -1;
        }
        LOG_INF("SW1 configured (Cycle Theme)");
    }
#endif
#if DT_NODE_HAS_STATUS(SW2_NODE, okay)
    if (gpio_is_ready_dt(&button2)) {
        ret = gpio_pin_configure_dt(&button2, GPIO_INPUT);
        if (ret == 0) ret = gpio_pin_interrupt_configure_dt(
                                &button2, GPIO_INT_EDGE_TO_ACTIVE);
        if (ret == 0) {
            gpio_init_callback(&button_cb_data[2], button2_isr,
                               BIT(button2.pin));
            ret = gpio_add_callback(button2.port, &button_cb_data[2]);
        }
        if (ret != 0) {
            LOG_ERR("SW2 init failed: %d", ret);
            return -1;
        }
        LOG_INF("SW2 configured (Brightness)");
    }
#endif
#if DT_NODE_HAS_STATUS(SW3_NODE, okay)
    if (gpio_is_ready_dt(&button3)) {
        ret = gpio_pin_configure_dt(&button3, GPIO_INPUT);
        if (ret == 0) ret = gpio_pin_interrupt_configure_dt(
                                &button3, GPIO_INT_EDGE_TO_ACTIVE);
        if (ret == 0) {
            gpio_init_callback(&button_cb_data[3], button3_isr,
                               BIT(button3.pin));
            ret = gpio_add_callback(button3.port, &button_cb_data[3]);
        }
        if (ret != 0) {
            LOG_ERR("SW3 init failed: %d", ret);
            return -1;
        }
        LOG_INF("SW3 configured (Status Popup)");
    }
#endif
    return 0;
}
```

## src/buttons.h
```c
/* Button GPIO Driver — SPDX-License-Identifier: Apache-2.0 */
#ifndef BUTTONS_H
#define BUTTONS_H

int init_buttons(void);

#endif
```

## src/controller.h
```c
/* Controller FSM — SPDX-License-Identifier: Apache-2.0 */
#ifndef CONTROLLER_H
#define CONTROLLER_H

#include <zephyr/drivers/display.h>

void controller_set_display(const struct device *dev);

#endif
```

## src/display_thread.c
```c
/* Display Thread — SPDX-License-Identifier: Apache-2.0 */

#include <zephyr/kernel.h>
#include <zephyr/sys/atomic.h>
#include <zephyr/logging/log.h>
#include <lvgl.h>
#include <time.h>

#include "app_events.h"
#include "ui/ui.h"
#include "ble_service.h"
#include "rtc_time.h"
#include "storage.h"
#include "display_thread.h"

LOG_MODULE_REGISTER(display, CONFIG_LOG_DEFAULT_LEVEL);

#define LVGL_TASK_INTERVAL_MS 10
#define STEP_GOAL            10000U

static void display_entry(void *p1, void *p2, void *p3)
{
    ARG_UNUSED(p1); ARG_UNUSED(p2); ARG_UNUSED(p3);

    k_sem_take(&sem_display_ready, K_FOREVER);

    LOG_INF("[DISPLAY] Thread started (P9)");

    static int64_t last_time_s = -1;
    static int last_calendar_day = -1;

    while (1) {
        if (atomic_get(&display_sleeping) != 0) {
            k_sem_take(&sem_display_wake, K_FOREVER);
            last_time_s = -1;
            last_calendar_day = -1;
            continue;
        }

        /* 1. Process UI actions from CONTROLLER */
        atomic_val_t actions = atomic_clear(&ui_action_flags);
        bool entering_sleep = (actions & UI_ACT_ENTER_SLEEP) != 0U;

        if (actions & UI_ACT_SWITCH_SCREEN)   ui_switch_screen();
        if (actions & UI_ACT_CYCLE_THEME) {
            ui_cycle_theme_color();
            storage_save_theme(ui_get_theme_index());
        }
        if (actions & UI_ACT_BRIGHTNESS)      ui_toggle_brightness();
        if (actions & UI_ACT_STATUS_POPUP)    ui_toggle_status_popup();
        if (actions & UI_ACT_EXIT_SLEEP)      ui_hide_sleep_overlay();
        if (actions & UI_ACT_ROTATION_CHANGE) {
            lv_obj_invalidate(lv_scr_act());
            lv_refr_now(NULL);
        }
        if (entering_sleep) {
            ui_show_sleep_overlay();
            lv_refr_now(NULL);
            atomic_set(&display_sleeping, 1);
            continue;
        }

        /* 2. Update sensor display if new data available */
        if (atomic_cas(&sensor_display_dirty, 1, 0)) {
            struct sensor_snapshot snap;
            k_mutex_lock(&mtx_sensors, K_FOREVER);
            snap = shared_sensors;
            k_mutex_unlock(&mtx_sensors);

            if (snap.valid_flags) {
                ui_update_temp_humidity(snap.temperature, snap.humidity);
                ui_update_pressure(snap.pressure);
                ui_update_accel(snap.accel[0], snap.accel[1], snap.accel[2]);
                ui_update_gyro(snap.gyro[0], snap.gyro[1], snap.gyro[2]);
                ui_update_magnetometer(snap.magn[0], snap.magn[1],
                                       snap.magn[2]);

                if (snap.valid_flags & SNAP_VALID_MAG) {
                    float heading = (float)atomic_get(&shared_heading_centideg)
                                    / 100.0f;
                    ui_update_compass(heading);
                }

                ui_update_steps((uint32_t)atomic_get(&shared_step_count), STEP_GOAL);
            }
        }

        /* 3. Update time display (once per second) */
        int64_t now_s = k_uptime_get() / 1000;
        if (now_s != last_time_s) {
            last_time_s = now_s;

            ui_update_uptime((uint32_t)now_s);
            ui_set_ble_status(ble_is_connected());

            uint32_t current_timestamp;
            if (time_get_unix(&current_timestamp)) {
                time_t current = (time_t)current_timestamp;
                struct tm t;
                gmtime_r(&current, &t);

                int year  = t.tm_year + 1900;
                int month = t.tm_mon + 1;
                int day   = t.tm_mday;

                ui_update_datetime(year, month, day,
                                   t.tm_hour, t.tm_min, t.tm_sec);

                if (day != last_calendar_day) {
                    last_calendar_day = day;
                    ui_update_calendar(year, month, day);
                }
            }
        }

        if (actions & UI_ACT_EXIT_SLEEP) {
            lv_obj_invalidate(lv_scr_act());
            lv_refr_now(NULL);
        }

        /* 4. LVGL task handler */
        lv_task_handler();

        /* 5. Yield CPU — 10 ms (100 Hz refresh) */
        k_msleep(LVGL_TASK_INTERVAL_MS);
    }
}

K_THREAD_DEFINE(display_tid, 10240, display_entry,
                NULL, NULL, NULL, 9, 0, 0);
```

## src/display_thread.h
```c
/* Display Thread — SPDX-License-Identifier: Apache-2.0 */
#ifndef DISPLAY_THREAD_H
#define DISPLAY_THREAD_H

#endif
```

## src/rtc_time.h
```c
/* RTC Time Management — SPDX-License-Identifier: Apache-2.0 */
#ifndef RTC_TIME_H
#define RTC_TIME_H

#include <stdint.h>
#include <stdbool.h>

#define MIN_VALID_TIMESTAMP 1704067200
#define MAX_VALID_TIMESTAMP 4102444800U

enum time_source {
    TIME_SOURCE_NONE = 0,
    TIME_SOURCE_RTC,
    TIME_SOURCE_BLE,
};

enum rtc_health {
    RTC_HEALTH_OK = 0,
    RTC_HEALTH_INVALID,
    RTC_HEALTH_IO_ERROR,
};

struct time_status_snapshot {
    bool synced;
    bool rtc_present;
    enum time_source source;
    enum rtc_health rtc_health;
    uint32_t last_sync_timestamp;
    int last_rtc_error;
};

void rtc_time_init(void);
void time_sync_from_ble(uint32_t timestamp);
bool time_get_unix(uint32_t *timestamp_out);
void time_get_status(struct time_status_snapshot *out);

#endif
```
